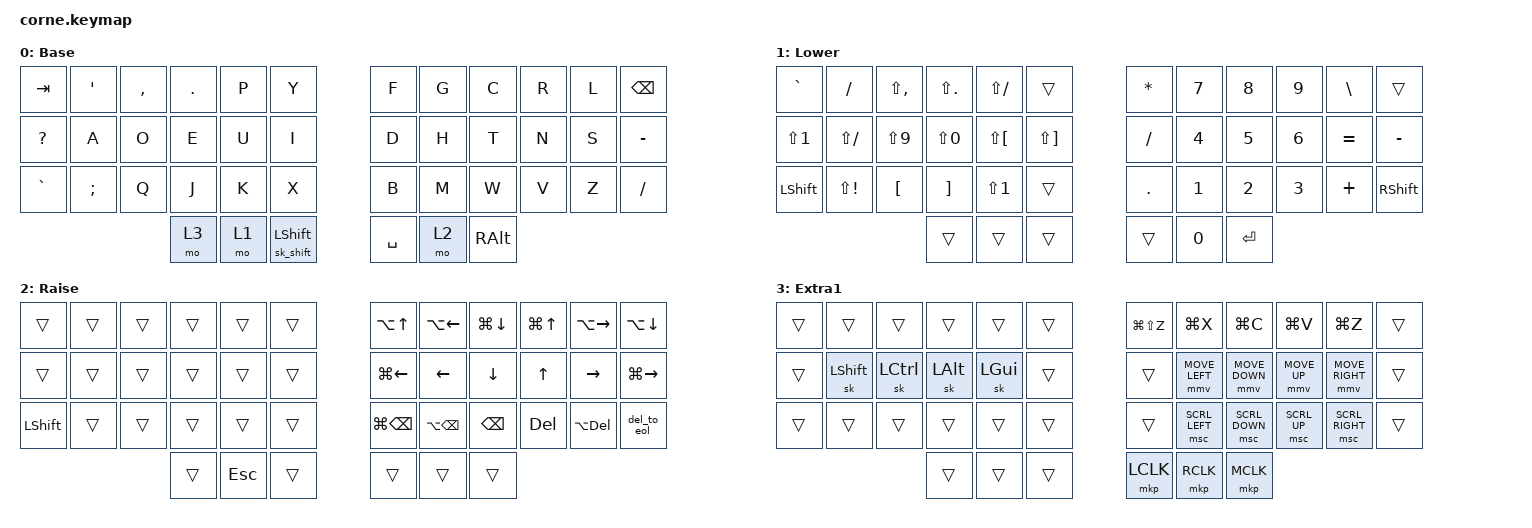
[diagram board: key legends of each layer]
#include <behaviors.dtsi>
#include <dt-bindings/zmk/keys.h>
#include <dt-bindings/zmk/pointing.h>

/ {
    behaviors {
        sk_shift: sticky_shift {
            compatible = "zmk,behavior-sticky-key";
            #binding-cells = <1>;
            bindings = <&kp>;
            release-after-ms = <1000>;
            quick-release;
        };
    };

    macros {
        del_to_eol: delete_to_end_of_line {
            compatible = "zmk,behavior-macro";
            #binding-cells = <0>;
            bindings = <&kp LS(LG(RIGHT)) &kp DELETE>;
        };
    };

    keymap {
        compatible = "zmk,keymap";

        default_layer {
            display-name = "Base";
            bindings = <
&kp TAB       &kp SQT   &kp COMMA  &kp DOT  &kp P  &kp Y                   &kp F      &kp G  &kp C     &kp R  &kp L  &kp BSPC
&kp QUESTION  &kp A     &kp O      &kp E    &kp U  &kp I                   &kp D      &kp H  &kp T     &kp N  &kp S  &kp MINUS
&kp GRAVE     &kp SEMI  &kp Q      &kp J    &kp K  &kp X                   &kp B      &kp M  &kp W     &kp V  &kp Z  &kp SLASH
                                   &mo 3    &mo 1  &sk_shift LEFT_SHIFT    &kp SPACE  &mo 2  &kp RALT
            >;
        };

        lower_layer {
            display-name = "Lower";
            bindings = <
&kp GRAVE         &kp FSLH             &kp LS(COMMA)  &kp LS(DOT)  &kp LS(FSLH)      &trans          &kp ASTERISK  &kp N7        &kp N8        &kp N9        &kp BACKSLASH  &trans
&kp LS(NUMBER_1)  &kp LS(SLASH)        &kp LS(N9)     &kp LS(N0)   &kp LS(LBKT)      &kp LS(RBKT)    &kp SLASH     &kp NUMBER_4  &kp N5        &kp NUMBER_6  &kp EQUAL      &kp MINUS
&kp LSHFT         &kp LS(EXCLAMATION)  &kp LBKT       &kp RBKT     &kp LS(NUMBER_1)  &trans          &kp DOT       &kp NUMBER_1  &kp NUMBER_2  &kp NUMBER_3  &kp PLUS       &kp RIGHT_SHIFT
                                                      &trans       &trans            &trans          &trans        &kp N0        &kp ENTER
            >;
        };

        raise_layer {
            display-name = "Raise";
            bindings = <
&trans     &trans  &trans  &trans  &trans      &trans    &kp LA(UP_ARROW)    &kp LA(LEFT_ARROW)  &kp LG(DOWN_ARROW)  &kp LG(UP_ARROW)  &kp LA(RIGHT_ARROW)  &kp LA(DOWN)
&trans     &trans  &trans  &trans  &trans      &trans    &kp LG(LEFT_ARROW)  &kp LEFT_ARROW      &kp DOWN_ARROW      &kp UP_ARROW      &kp RIGHT_ARROW      &kp LG(RIGHT_ARROW)
&kp LSHFT  &trans  &trans  &trans  &trans      &trans    &kp LG(BACKSPACE)   &kp LA(BACKSPACE)   &kp BACKSPACE       &kp DELETE        &kp LA(DELETE)       &del_to_eol
                           &trans  &kp ESCAPE  &trans    &trans              &trans              &trans
            >;
        };

        extra_1 {
            display-name = "Extra1";
            bindings = <
&trans  &trans          &trans            &trans        &trans        &trans    &kp LG(LS(Z))  &kp LG(X)       &kp LG(C)       &kp LG(V)     &kp LG(Z)        &trans
&trans  &sk LEFT_SHIFT  &sk LEFT_CONTROL  &sk LEFT_ALT  &sk LEFT_GUI  &trans    &trans         &mmv MOVE_LEFT  &mmv MOVE_DOWN  &mmv MOVE_UP  &mmv MOVE_RIGHT  &trans
&trans  &trans          &trans            &trans        &trans        &trans    &trans         &msc SCRL_LEFT  &msc SCRL_DOWN  &msc SCRL_UP  &msc SCRL_RIGHT  &trans
                                          &trans        &trans        &trans    &mkp LCLK      &mkp RCLK       &mkp MCLK
            >;
        };

        extra_2 { status = "reserved"; };

        extra_3 { status = "reserved"; };
    };
};
